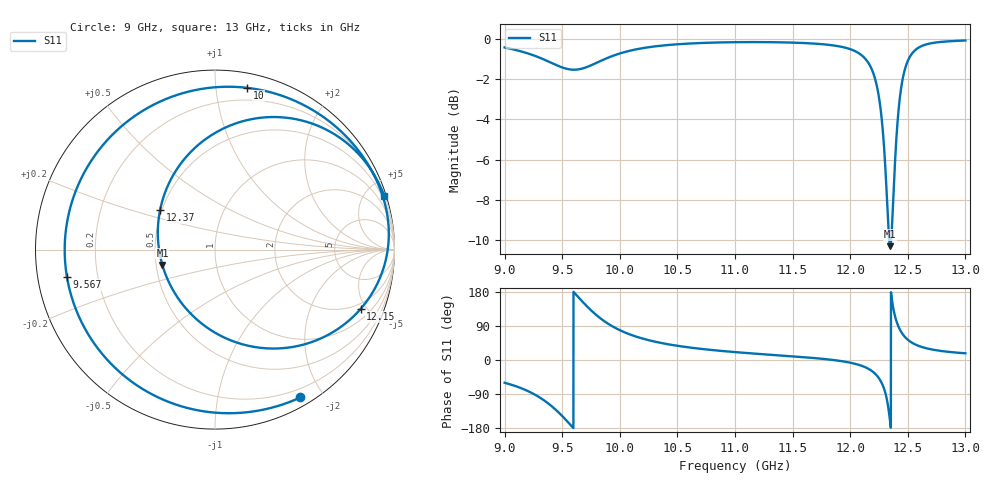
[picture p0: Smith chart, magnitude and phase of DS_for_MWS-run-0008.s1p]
! TOUCHSTONE file generated by CST DESIGN STUDIO
! Date and time: Tue Feb  4 16:28:40 2025
! Project name: C:\Work\MatlabApps\UnitCellOptimizationMatlab\CST\unitcell.cst
! Tree item: Tasks\Sweep1\SPara1\S-Parameters
! Header version: 2024
! Port assignment regex: !\s*Touchstone port\s*([0-9]+)\s*=\s*(CST MWS port|CST DES external port|CST DES block port)\s*(.+)\s* \(\"(.*)\"\)(\s*mode\s*([0-9]+))?.*
! Touchstone port assignment:
! Touchstone port 1 = CST DES external port 1 ("")
# GHz S MA R 50
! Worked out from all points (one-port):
!   4001 points, 9 GHz to 13 GHz, reference 50 ohm
!   lowest |S11| = -10.3 dB at 12.35 GHz (marker M1), VSWR 1.88, Z = 27 - j5.13 ohm
!   |S11| at or under -10 dB: 12.33877 GHz to 12.35544 GHz (16.68 MHz wide, 0.135 % of centre)
!   S11 on the Smith chart (normalised r, x): 9 GHz: 0.10, -1.73; 9.567 GHz: 0.09, -0.09; 10 GHz: 0.10, +1.21; 12.15 GHz: 1.60, -4.56; 12.37 GHz: 0.49, +0.25; 13 GHz: 0.21, +6.42
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9  0.9512 -60.0
9.158  0.9274 -76.1
9.309  0.896 -99.7
9.408  0.8705 -121.8
9.5  0.8485 -147.8
9.567  0.8389 -169.6
9.662  0.8414 158.4
9.779  0.8661 123.2
9.878  0.8921 99.8
10  0.919 78.7
10.215  0.949 55.1
10.5  0.9686 37.5
11  0.9802 20.8
11.5  0.9778 9.7
12  0.942 -7.1
12.152  0.8759 -22.2
12.224  0.7794 -38.5
12.281  0.6003 -65.6
12.314  0.4288 -97.7
12.347  0.3055 -163.6
12.37  0.3777 144.0
12.398  0.5488 105.9
12.425  0.6885 84.2
12.456  0.7957 68.1
12.5  0.8806 53.5
12.566  0.9377 40.8
12.657  0.9673 31.3
13  0.9899 17.7
